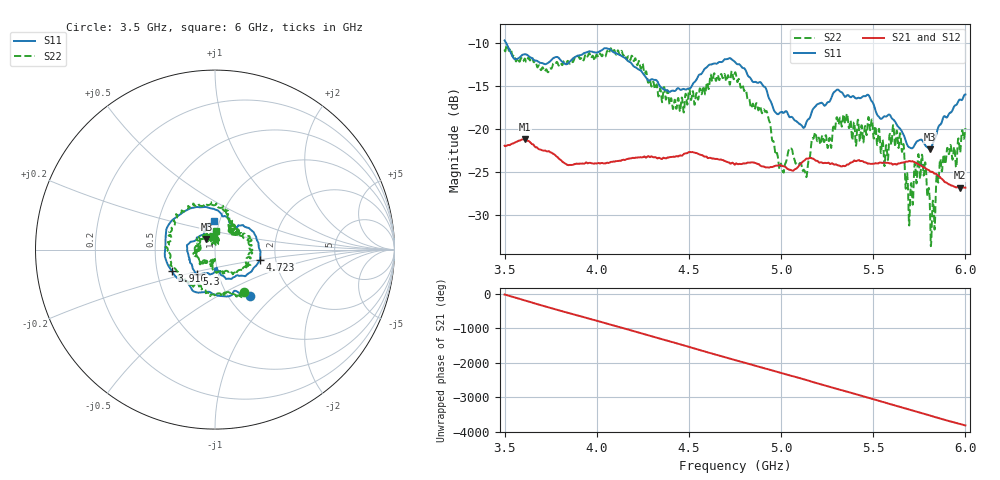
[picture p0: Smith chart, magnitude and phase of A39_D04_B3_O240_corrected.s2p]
! Created with skrf 1.9.0 (http://scikit-rf.org).
# Hz S RI R 50.0
!freq ReS11 ImS11 ReS21 ImS21 ReS12 ImS12 ReS22 ImS22
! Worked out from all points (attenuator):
!   1601 points, 3.5 GHz to 6 GHz, reference 50 ohm
!   highest |S21| = -21.18 dB at 3.609 GHz (marker M1); lowest = -26.8 dB at 5.972 GHz (marker M2)
!   lowest |S11| = -22.3 dB at 5.806 GHz (marker M3), VSWR 1.17, Z = 45.1 + j5.43 ohm
!   |S11| at or under -10 dB: 3.508 GHz to end of sweep
!   |S22| runs from -33.6 to -10.3 dB; largest |S21 - S12| = 0.0011
!   S11 on the Smith chart (normalised r, x): 3.5 GHz: 1.25, -0.73; 3.916 GHz: 0.60, -0.15; 4.723 GHz: 1.66, -0.20; 5.3 GHz: 0.79, -0.22; 6 GHz: 0.94, +0.30
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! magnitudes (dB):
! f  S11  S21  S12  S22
! 3.5 GHz  -9.7  -21.9  -21.9  -10.8
! 3.609 GHz  -11.3  -21.2  -21.2  -11.8
! 3.916 GHz  -11.4  -24.0  -24.0  -11.8
! 3.917 GHz  -11.4  -24.0  -24.0  -11.7
! 4.125 GHz  -11.4  -23.7  -23.6  -11.4
! 4.334 GHz  -14.7  -23.4  -23.3  -16.2
! 4.463 GHz  -15.4  -23.1  -23.1  -16.4
! 4.723 GHz  -11.8  -24.0  -23.9  -14.8
! 4.75 GHz  -12.2  -24.1  -24.0  -13.5
! 4.919 GHz  -15.4  -24.4  -24.4  -17.9
! 5.002 GHz  -18.0  -24.2  -24.2  -24.1
! 5.131 GHz  -19.6  -23.5  -23.5  -25.1
! 5.167 GHz  -18.0  -23.4  -23.3  -21.2
! 5.3 GHz  -15.5  -24.1  -24.1  -18.7
! 5.584 GHz  -18.3  -24.0  -23.9  -21.9
! 5.655 GHz  -20.2  -23.9  -23.8  -22.5
! 5.703 GHz  -22.2  -23.7  -23.7  -26.5
! 5.773 GHz  -21.6  -24.4  -24.3  -25.4
! 5.806 GHz  -22.3  -24.8  -24.8  -28.1
! 5.872 GHz  -19.2  -25.8  -25.7  -24.9
! 5.972 GHz  -16.6  -26.8  -26.7  -22.7
! 6 GHz  -16.0  -26.8  -26.7  -19.9
